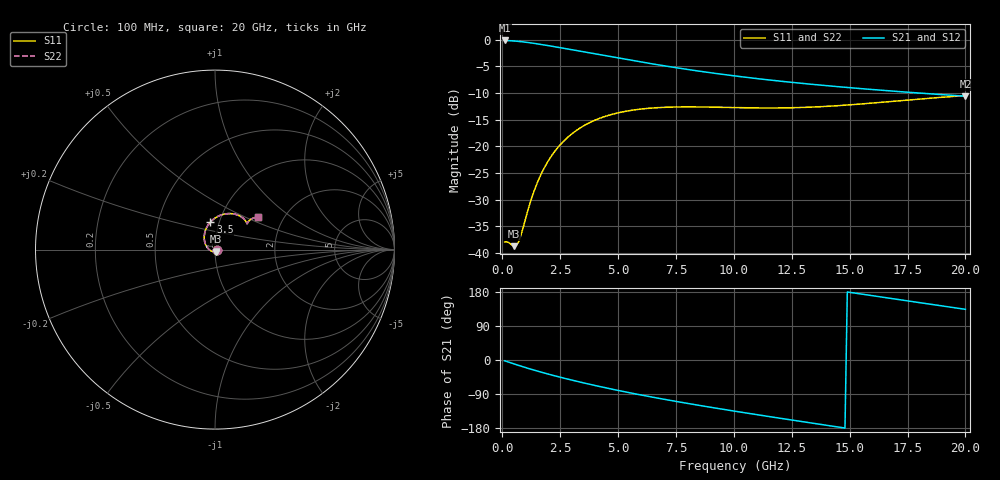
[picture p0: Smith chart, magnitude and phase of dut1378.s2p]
! Touchstone file exported from HFSS 2024.1.0
!  File:  C:/UserFiles/LocalFiles/RDL_TSV_Batchsim/temp_RDL_TSV_1378_1780400566.aedt
!  Generated:  07:56:56 PM Jun  2, 2026
!  Design:  RDL_TSV
!  Project:  temp_RDL_TSV_1378_1780400566
!  Setup:  Setup1
!  Solution:  Sweep
! Variables:
!  dtsv = 11.62um
!  hbump = 3um
!  htsv = 92.06um
!  ldown = 691.79um
!  lrdl = 251.72um
!  p = 40
!  p1 = 50.54um
!  rhole = 10um
!  subl = 3082.25um
!  t = 450um
!  tdown = 3.84um
!  trdl = 4.78um
!  viad = 10um
!  wdown = 23.56um
!  wrdl = 19.59um
!  xbump = 18um
# GHz S MA R 50.000000
! Terminal data exported
! Port[1] = TM1_1_T1
! Port[2] = TM1_4_T1
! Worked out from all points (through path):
!   200 points, 100 MHz to 20 GHz, reference 50 ohm
!   highest |S21| = -0.12 dB at 100 MHz (marker M1); lowest = -10.6 dB at 20 GHz (marker M2)
!   group delay of S21, straight-line fit = 29.5 ps
!   lowest |S11| = -38.8 dB at 500 MHz (marker M3), VSWR 1.02, Z = 50.4 - j1.07 ohm
!   |S11| at or under -10 dB: start of sweep to end of sweep
!   |S22| runs from -38.8 to -10.5 dB; largest |S21 - S12| = 1e-14
!   S11 on the Smith chart (normalised r, x): 100 MHz: 1.03, -0.00; 3.5 GHz: 0.91, +0.28; 20 GHz: 1.49, +0.59
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0.1  0.01262 -8.5  0.9867 -2.1  0.9867 -2.1  0.01262 -8.5
! Gamma 0 0 0 0
! Port Impedance 50 0 50 0
0.5  0.01153 -66.9  0.9758 -10.2  0.9758 -10.2  0.01153 -67.0
0.6  0.01167 -87.0  0.9718 -12.2  0.9718 -12.2  0.01167 -87.1
0.7  0.01261 -107.6  0.9672 -14.2  0.9672 -14.2  0.01261 -107.7
0.8  0.0145 -126.4  0.9622 -16.1  0.9622 -16.1  0.0145 -126.5
1.2  0.02934 -174.9  0.9384 -23.6  0.9384 -23.6  0.02936 -175.0
1.4  0.0394 170.8  0.9248 -27.2  0.9248 -27.2  0.03944 170.7
1.6  0.05039 159.5  0.9106 -30.7  0.9106 -30.7  0.05044 159.4
1.9  0.06785 145.8  0.8886 -35.8  0.8886 -35.8  0.06792 145.7
2.2  0.08568 134.5  0.8664 -40.7  0.8664 -40.7  0.08577 134.4
2.6  0.109 121.8  0.8369 -47.0  0.8369 -47.0  0.1091 121.8
3.5  0.1551 99.7  0.7727 -60.3  0.7727 -60.3  0.1553 99.6
4.2  0.183 86.4  0.7258 -69.9  0.7258 -69.9  0.1832 86.4
4.9  0.2038 75.6  0.6817 -79.0  0.6817 -79.0  0.204 75.6
5.8  0.2212 64.6  0.63 -90.1  0.63 -90.1  0.2215 64.6
6.8  0.2313 55.3  0.5791 -101.6  0.5791 -101.6  0.2316 55.2
8.4  0.2344 45.4  0.5118 -118.7  0.5118 -118.7  0.2348 45.4
10.1  0.2309 40.2  0.4564 -135.7  0.4564 -135.7  0.2313 40.1
11.7  0.2291 38.9  0.4159 -150.9  0.4159 -150.9  0.2295 38.7
13.4  0.2337 39.4  0.3816 -166.7  0.3816 -166.7  0.234 39.3
16.7  0.2626 40.2  0.3319 163.2  0.3319 163.2  0.2626 40.0
20  0.2995 36.9  0.2956 133.7  0.2956 133.7  0.2992 36.7
